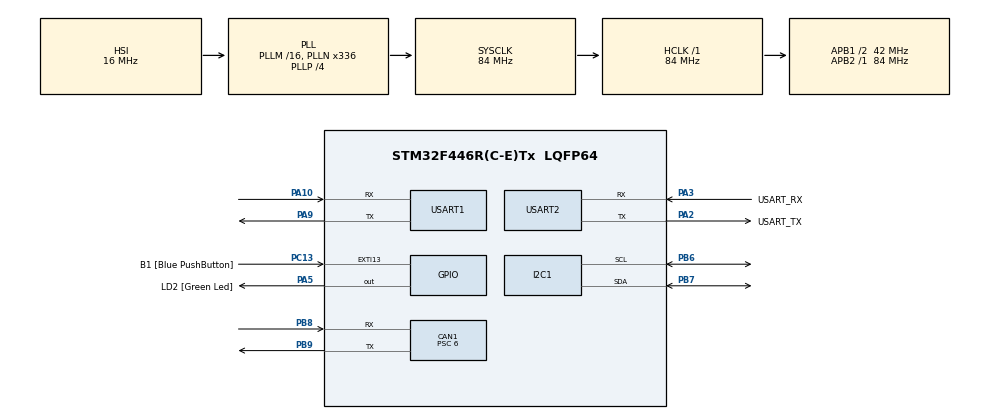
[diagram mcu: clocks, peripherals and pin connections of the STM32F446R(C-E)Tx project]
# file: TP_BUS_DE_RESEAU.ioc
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CAN1.BS1=CAN_BS1_11TQ
CAN1.BS2=CAN_BS2_2TQ
CAN1.CalculateBaudRate=500000
CAN1.CalculateTimeBit=2000
CAN1.CalculateTimeQuantum=142.85714285714286
CAN1.Prescaler=6
Mcu.Family=STM32F4
Mcu.Name=STM32F446R(C-E)Tx
Mcu.Package=LQFP64
NVIC.PriorityGroup=NVIC_PRIORITYGROUP_0
NVIC.USART1_IRQn=true\:0\:0\:false\:false\:true\:true\:true\:true
NVIC.USART2_IRQn=true\:0\:0\:false\:false\:true\:true\:true\:true
PA10.Mode=Asynchronous
PA10.Signal=USART1_RX
PA13.GPIO_Label=TMS
PA13.Mode=Serial_Wire
PA13.Signal=SYS_JTMS-SWDIO
PA14.GPIO_Label=TCK
PA14.Mode=Serial_Wire
PA14.Signal=SYS_JTCK-SWCLK
PA2.GPIO_Label=USART_TX
PA2.Mode=Asynchronous
PA2.Signal=USART2_TX
PA3.GPIO_Label=USART_RX
PA3.Mode=Asynchronous
PA3.Signal=USART2_RX
PA5.GPIO_Label=LD2 [Green Led]
PA5.Signal=GPIO_Output
PA9.Mode=Asynchronous
PA9.Signal=USART1_TX
PB3.GPIO_Label=SWO
PB3.Signal=SYS_JTDO-SWO
PB6.Mode=I2C
PB6.Signal=I2C1_SCL
PB7.Mode=I2C
PB7.Signal=I2C1_SDA
PB8.Mode=CAN_Activate
PB8.Signal=CAN1_RX
PB9.Mode=CAN_Activate
PB9.Signal=CAN1_TX
PC13.GPIO_Label=B1 [Blue PushButton]
PC13.GPIO_ModeDefaultEXTI=GPIO_MODE_IT_FALLING
PC13.Signal=GPXTI13
PC14-OSC32_IN.Mode=LSE-External-Oscillator
PC14-OSC32_IN.Signal=RCC_OSC32_IN
PC15-OSC32_OUT.Mode=LSE-External-Oscillator
PC15-OSC32_OUT.Signal=RCC_OSC32_OUT
PH0-OSC_IN.Mode=HSE-External-Oscillator
PH0-OSC_IN.Signal=RCC_OSC_IN
PH1-OSC_OUT.Mode=HSE-External-Oscillator
PH1-OSC_OUT.Signal=RCC_OSC_OUT
ProjectManager.HeapSize=0x200
ProjectManager.StackSize=0x400
ProjectManager.TargetToolchain=STM32CubeIDE
RCC.48MHZClocksFreq_Value=84000000
RCC.AHBFreq_Value=84000000
RCC.APB1CLKDivider=RCC_HCLK_DIV2
RCC.APB1Freq_Value=42000000
RCC.APB1TimFreq_Value=84000000
RCC.APB2Freq_Value=84000000
RCC.APB2TimFreq_Value=84000000
RCC.CortexFreq_Value=84000000
RCC.FLatency-AdvancedSettings=FLASH_LATENCY_2
RCC.HCLKFreq_Value=84000000
RCC.HSE_VALUE=8000000
RCC.HSI_VALUE=16000000
RCC.PLLN=336
RCC.PLLP=RCC_PLLP_DIV4
RCC.SYSCLKFreq_VALUE=84000000
RCC.SYSCLKSource=RCC_SYSCLKSOURCE_PLLCLK
RCC.USBFreq_Value=168000000
RCC.VCOOutputFreq_Value=336000000
USART1.VirtualMode=VM_ASYNC
USART2.VirtualMode=VM_ASYNC
board=NUCLEO-F446RE

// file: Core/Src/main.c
/* USER CODE BEGIN Header */
/**
  ******************************************************************************
  * @file           : main.c
  * @brief          : Main program body
  ******************************************************************************
  * @attention
  *
  * Copyright (c) 2025 STMicroelectronics.
  * All rights reserved.
  *
  * This software is licensed under terms that can be found in the LICENSE file
  * in the root directory of this software component.
  * If no LICENSE file comes with this software, it is provided AS-IS.
  *
  ******************************************************************************
  */
/* USER CODE END Header */
#include "main.h"
#include "can.h"
#include "i2c.h"
#include "usart.h"
#include "gpio.h"

/* USER CODE BEGIN Includes */
#include "stdio.h"
#include "bmp.h"
#include "ADXL.h"
/* USER CODE END Includes */

/* USER CODE BEGIN PTD */

#define SIZE_BUFFER 1

uint32_t value[2];
uint8_t rxData[SIZE_BUFFER];

uint8_t parser[6];

Measure meas = {0};

int temp = 0;
int pres = 0;

float temp1 = 0;
float pres1 = 0;

uint8_t compteur = 0;

uint32_t txMailbox;

uint8_t angle_reel;
/* USER CODE END PTD */

void SystemClock_Config(void);

/* USER CODE BEGIN 0 */
int __io_putchar(int ch)
{
	HAL_UART_Transmit(&huart1, (uint8_t*)&ch, 1, HAL_MAX_DELAY);

	return ch;
}
/* USER CODE END 0 */

int main(void)
{

  /* MCU Configuration--------------------------------------------------------*/

  /* Reset of all peripherals, Initializes the Flash interface and the Systick. */
  HAL_Init();

  /* Configure the system clock */
  SystemClock_Config();

  /* Initialize all configured peripherals */
  MX_GPIO_Init();
  MX_USART2_UART_Init();
  MX_I2C1_Init();
  MX_USART1_UART_Init();
  MX_CAN1_Init();
  /* USER CODE BEGIN 2 */
  uint8_t buf = 0xD0;
  uint8_t buffer = 0;

  if (HAL_I2C_Master_Transmit(&hi2c1, ADRESS_BMP , &buf, 1, 100) == HAL_OK)
  {
      if (HAL_I2C_Master_Receive(&hi2c1,ADRESS_BMP, &buffer, 1, 100) == HAL_OK)
      {
      }
  }
  BMP280_Init(&hi2c1);
  ADXL343_Init();
  HAL_UART_Receive_IT(&huart1, &rxData, SIZE_BUFFER);
  //----------------CAN-----------------//

  if (HAL_CAN_Start (&hcan1) != HAL_OK)
  {
	  Error_Handler();
  }
  CAN_TxHeaderTypeDef header = {
		  .StdId = 0x60, //contient le message ID quand celui-ci est standard (11 bits)
		  .ExtId = 0x0, //contient le message ID quand celui-ci est étendu (29 bits)
		  .IDE = CAN_ID_STD, //définit si la trame est standard (CAN_ID_STD) ou étendue (CAN_ID_EXT)
		  .RTR = CAN_RTR_DATA, //définit si la trame est du type standard (CAN_RTR_DATA) ou RTR (CAN_RTR_REMOTE) (voir le cours)
		  .DLC = 3, //entier représentant la taille des données à transmettre (entre 0 et 8)
		  .TransmitGlobalTime = DISABLE //dispositif permettant de mesurer les temps de réponse du bus CAN, qu'on utilisera pas. Le fixer à DISABLE
  };

  /* USER CODE END 2 */

  /* Infinite loop */
  while (1)
  {

    /* USER CODE BEGIN 3 */
	  //angle(0xB0,0x01);
	  //manual_mode(0x01,0xB4,0x01);
	  BMP280_Read_Raw(&hi2c1, &pres, &temp);
	  temp1 = bmp280_compensate_T_int32(temp)/100.0;
	  pres1 = bmp280_compensate_P_int64(pres)/25600.0;

	  printf("temp : %.2f",temp1);
	  process_temperature(temp1);
	  HAL_Delay(100);

	  //angle(0x0,0x00);

	  HAL_Delay(10);
	    //read_value(&value);
	  //ADXL343_ReadXYZ(&meas);
	  //temp = read_temperature_uint();
	  //pres = read_pressure_uint();
  }
  /* USER CODE END 3 */
}

void SystemClock_Config(void)
{
  RCC_OscInitTypeDef RCC_OscInitStruct = {0};
  RCC_ClkInitTypeDef RCC_ClkInitStruct = {0};

  /** Configure the main internal regulator output voltage
  */
  __HAL_RCC_PWR_CLK_ENABLE();
  __HAL_PWR_VOLTAGESCALING_CONFIG(PWR_REGULATOR_VOLTAGE_SCALE3);

  /** Initializes the RCC Oscillators according to the specified parameters
  * in the RCC_OscInitTypeDef structure.
  */
  RCC_OscInitStruct.OscillatorType = RCC_OSCILLATORTYPE_HSI;
  RCC_OscInitStruct.HSIState = RCC_HSI_ON;
  RCC_OscInitStruct.HSICalibrationValue = RCC_HSICALIBRATION_DEFAULT;
  RCC_OscInitStruct.PLL.PLLState = RCC_PLL_ON;
  RCC_OscInitStruct.PLL.PLLSource = RCC_PLLSOURCE_HSI;
  RCC_OscInitStruct.PLL.PLLM = 16;
  RCC_OscInitStruct.PLL.PLLN = 336;
  RCC_OscInitStruct.PLL.PLLP = RCC_PLLP_DIV4;
  RCC_OscInitStruct.PLL.PLLQ = 2;
  RCC_OscInitStruct.PLL.PLLR = 2;
  if (HAL_RCC_OscConfig(&RCC_OscInitStruct) != HAL_OK)
  {
    Error_Handler();
  }

  /** Initializes the CPU, AHB and APB buses clocks
  */
  RCC_ClkInitStruct.ClockType = RCC_CLOCKTYPE_HCLK|RCC_CLOCKTYPE_SYSCLK
                              |RCC_CLOCKTYPE_PCLK1|RCC_CLOCKTYPE_PCLK2;
  RCC_ClkInitStruct.SYSCLKSource = RCC_SYSCLKSOURCE_PLLCLK;
  RCC_ClkInitStruct.AHBCLKDivider = RCC_SYSCLK_DIV1;
  RCC_ClkInitStruct.APB1CLKDivider = RCC_HCLK_DIV2;
  RCC_ClkInitStruct.APB2CLKDivider = RCC_HCLK_DIV1;

  if (HAL_RCC_ClockConfig(&RCC_ClkInitStruct, FLASH_LATENCY_2) != HAL_OK)
  {
    Error_Handler();
  }
}

/* USER CODE BEGIN 4 */
void PARSE(uint8_t* buffer,uint8_t size)
{
	for (int i = 0;i<size;i++)
	{
		if (buffer[i]=='G' && buffer[i+1]=='E' && buffer[i+2]=='T' && buffer[i+3]=='_')
		{
			if (buffer[i + 4] == 'T')
			{
				char ligne[20];
				int len = snprintf(ligne, sizeof(ligne), "Valeur de T:%lu \r\n", value[1]);
				HAL_UART_Transmit(&huart1, (uint8_t*)ligne, len, 10);

			}
			if (buffer[i + 4] == 'P')
			{
				char ligne[20];
				int len = snprintf(ligne, sizeof(ligne), "Valeur de P:%lu\r\n", value[0]);
				HAL_UART_Transmit(&huart1, (uint8_t*)ligne, len, 10);
			}
		}
	}
}

void HAL_UART_RxCpltCallback(UART_HandleTypeDef *huart)
{
    if (huart->Instance == USART1)   // vérifier la bonne UART
    {

        // --- Relancer la réception pour le prochain octet ---
    	if (compteur < 5)
    	{
    		parser[compteur]=rxData[0];
    		compteur = compteur + 1;

    	}
    	else
    	{
    		parser[compteur]=rxData[0];
    		compteur = 0;
    		PARSE(&parser,6);

    		//HAL_UART_Transmit(&huart1, (uint8_t*)"\r\n", 2, 10);
    	}

        HAL_UART_Receive_IT(&huart1, &rxData,SIZE_BUFFER );
    }
}

void manual_mode(uint8_t rotation,uint8_t step,uint8_t speed)
{
	CAN_TxHeaderTypeDef header = {
			  .StdId = 0x60, //contient le message ID quand celui-ci est standard (11 bits)
			  .ExtId = 0x0, //contient le message ID quand celui-ci est étendu (29 bits)
			  .IDE = CAN_ID_STD, //définit si la trame est standard (CAN_ID_STD) ou étendue (CAN_ID_EXT)
			  .RTR = CAN_RTR_DATA, //définit si la trame est du type standard (CAN_RTR_DATA) ou RTR (CAN_RTR_REMOTE) (voir le cours)
			  .DLC = 3, //entier représentant la taille des données à transmettre (entre 0 et 8)
			  .TransmitGlobalTime = DISABLE //dispositif permettant de mesurer les temps de réponse du bus CAN, qu'on utilisera pas. Le fixer à DISABLE
	};
	uint8_t manual[3]={rotation,step,speed};
	if (HAL_CAN_AddTxMessage (&hcan1, &header,manual, &txMailbox) != HAL_OK)
	  {
		  Error_Handler();
	  }
}

void angle(uint8_t angle1,uint8_t sens)
{
	CAN_TxHeaderTypeDef header = {
			  .StdId = 0x61, //contient le message ID quand celui-ci est standard (11 bits)
			  .ExtId = 0x0, //contient le message ID quand celui-ci est étendu (29 bits)
			  .IDE = CAN_ID_STD, //définit si la trame est standard (CAN_ID_STD) ou étendue (CAN_ID_EXT)
			  .RTR = CAN_RTR_DATA, //définit si la trame est du type standard (CAN_RTR_DATA) ou RTR (CAN_RTR_REMOTE) (voir le cours)
			  .DLC = 2, //entier représentant la taille des données à transmettre (entre 0 et 8)
			  .TransmitGlobalTime = DISABLE //dispositif permettant de mesurer les temps de réponse du bus CAN, qu'on utilisera pas. Le fixer à DISABLE
	};
	uint8_t manual[2]={angle1,sens};
	if (HAL_CAN_AddTxMessage (&hcan1, &header,manual, &txMailbox) != HAL_OK)
	  {
		  Error_Handler();
	  }
}

float old_pos = 0.0f;
uint8_t motor_speed = 0x01;  // vitesse fixe, ajustable

void process_temperature(float temp)
{
    float delta = temp - old_pos;

    if (delta == 0.0f)
        return;  // rien à faire si stable

    uint16_t new_pos = (temp - 20.0f) / (0.047f) ;

    uint16_t steps = new_pos - old_pos ;

    if (steps > 0)
    {
        // Température augmente → moteur horaire
        manual_mode(0x01, steps, motor_speed);
    }
    else
    {
        // Température baisse → moteur anti-horaire
        manual_mode(0x00, steps, motor_speed);
    }

    old_pos = new_pos; // mise à jour
}

/* USER CODE END 4 */

void Error_Handler(void)
{
  __disable_irq();
  while (1)
  {
  }
}
